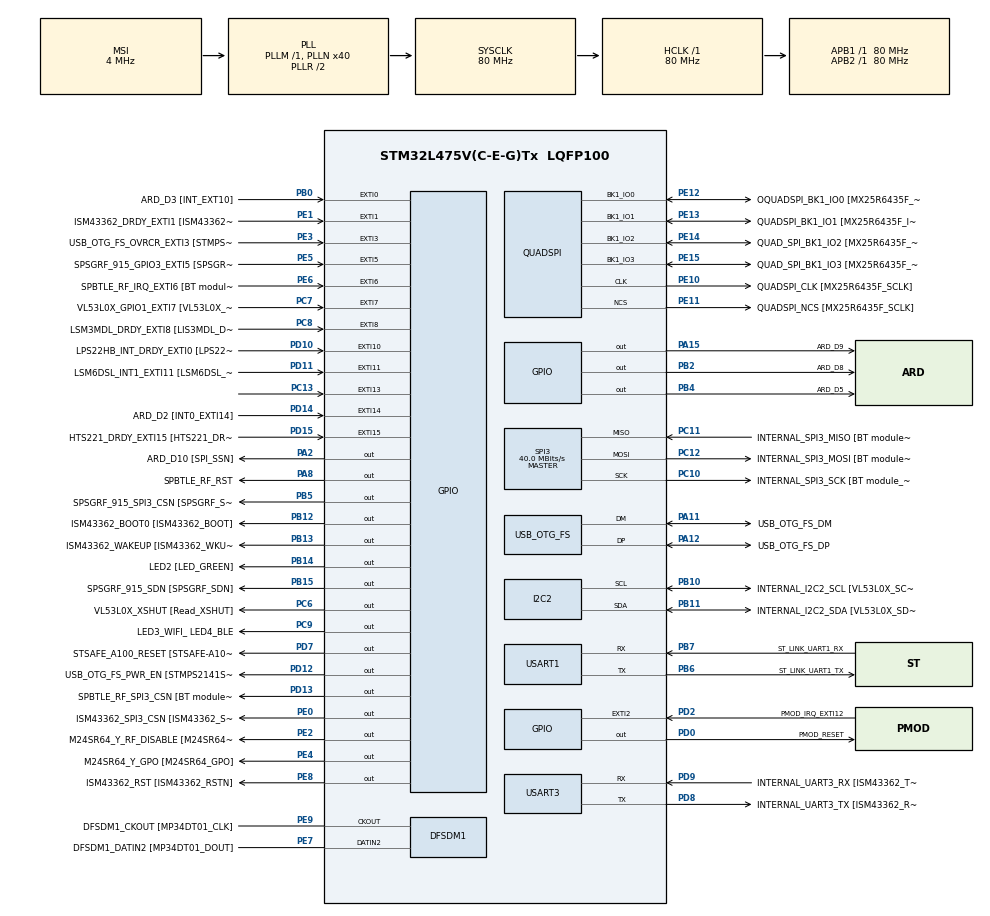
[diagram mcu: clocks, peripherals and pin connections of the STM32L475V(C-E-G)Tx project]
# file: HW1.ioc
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FREERTOS.Tasks01=defaultTask,24,128,StartDefaultTask,Default,NULL,Dynamic,NULL,NULL
I2C2.Timing=0x10D19CE4
Mcu.Family=STM32L4
Mcu.Name=STM32L475V(C-E-G)Tx
Mcu.Package=LQFP100
NVIC.EXTI15_10_IRQn=true\:5\:0\:false\:false\:true\:true\:true\:true\:true
NVIC.EXTI9_5_IRQn=true\:5\:0\:false\:false\:true\:true\:true\:true\:true
NVIC.PriorityGroup=NVIC_PRIORITYGROUP_4
NVIC.TIM1_UP_TIM16_IRQn=true\:15\:0\:false\:false\:true\:false\:false\:true\:true
NVIC.TIM2_IRQn=true\:5\:0\:false\:false\:true\:true\:true\:true\:true
NVIC.TimeBase=TIM1_UP_TIM16_IRQn
NVIC.TimeBaseIP=TIM1
PA0.GPIO_Label=ARD_D1 [UART4_TX]
PA0.Signal=UART4_TX
PA1.GPIO_Label=ARD_D0 [UART4_RX]
PA1.Signal=UART4_RX
PA10.GPIO_Label=USB_OTG_FS_ID
PA10.Signal=USB_OTG_FS_ID
PA11.GPIO_Label=USB_OTG_FS_DM
PA11.Mode=Device_Only
PA11.Signal=USB_OTG_FS_DM
PA12.GPIO_Label=USB_OTG_FS_DP
PA12.Mode=Device_Only
PA12.Signal=USB_OTG_FS_DP
PA13\ (JTMS-SWDIO).GPIO_Label=SYS_JTMS_SWDIO
PA13\ (JTMS-SWDIO).Mode=Serial_Wire
PA13\ (JTMS-SWDIO).Signal=SYS_JTMS-SWDIO
PA14\ (JTCK-SWCLK).GPIO_Label=SYS_JTCK_SWCLK
PA14\ (JTCK-SWCLK).Mode=Serial_Wire
PA14\ (JTCK-SWCLK).Signal=SYS_JTCK-SWCLK
PA15\ (JTDI).GPIO_Label=ARD_D9
PA15\ (JTDI).Signal=GPIO_Output
PA2.GPIO_Label=ARD_D10 [SPI_SSN]
PA2.Signal=GPIO_Output
PA3.GPIO_Label=ARD_D4
PA3.Signal=S_TIM2_CH4
PA4.GPIO_Label=ARD_D7
PA4.Signal=ADCx_IN9
PA5.GPIO_Label=ARD_D13 [SPI1_SCK]
PA5.Signal=SPI1_SCK
PA6.GPIO_Label=ARD_D12 [SPI1_MISO]
PA6.Signal=SPI1_MISO
PA7.GPIO_Label=ARD_D11 [SPI1_MOSI]
PA7.Signal=SPI1_MOSI
PA8.GPIO_Label=SPBTLE_RF_RST
PA8.Signal=GPIO_Output
PA9.GPIO_Label=USB_OTG_FS_VBUS [STMPS2141STR_OUT]
PA9.Signal=USB_OTG_FS_VBUS
PB0.GPIO_Label=ARD_D3 [INT_EXT10]
PB0.Signal=GPXTI0
PB1.GPIO_Label=ARD_D6 [ADC1_IN6]
PB1.Signal=ADCx_IN16
PB10.GPIO_Label=INTERNAL_I2C2_SCL [VL53L0X_SCL]
PB10.GPIO_Pu=GPIO_PULLUP
PB10.Mode=I2C
PB10.Signal=I2C2_SCL
PB11.GPIO_Label=INTERNAL_I2C2_SDA [VL53L0X_SDA]
PB11.GPIO_Pu=GPIO_PULLUP
PB11.Mode=I2C
PB11.Signal=I2C2_SDA
PB12.GPIO_Label=ISM43362_BOOT0 [ISM43362_BOOT]
PB12.Signal=GPIO_Output
PB13.GPIO_Label=ISM43362_WAKEUP [ISM43362_WKUP]
PB13.Signal=GPIO_Output
PB14.GPIO_Label=LED2 [LED_GREEN]
PB14.Signal=GPIO_Output
PB15.GPIO_Label=SPSGRF_915_SDN [SPSGRF_SDN]
PB15.Signal=GPIO_Output
PB2.GPIO_Label=ARD_D8
PB2.Signal=GPIO_Output
PB3\ (JTDO-TRACESWO).GPIO_Label=SYS_JTD0_SWO
PB3\ (JTDO-TRACESWO).Signal=SYS_JTDO-SWO
PB4\ (NJTRST).GPIO_Label=ARD_D5
PB4\ (NJTRST).Signal=GPIO_Output
PB5.GPIO_Label=SPSGRF_915_SPI3_CSN [SPSGRF_SPI_CS]
PB5.PinState=GPIO_PIN_SET
PB5.Signal=GPIO_Output
PB6.GPIO_Label=ST_LINK_UART1_TX
PB6.Mode=Asynchronous
PB6.Signal=USART1_TX
PB7.GPIO_Label=ST_LINK_UART1_RX
PB7.Mode=Asynchronous
PB7.Signal=USART1_RX
PB8.GPIO_Label=ARD_D15 [I2C1_SCL]
PB8.Signal=I2C1_SCL
PB9.GPIO_Label=ARD_D14 [I2C1_SDA]
PB9.Signal=I2C1_SDA
PC0.GPIO_Label=ARD_A5 [ADC]
PC0.Signal=ADCx_IN1
PC1.GPIO_Label=ARD_A4 [ADC]
PC1.Signal=ADCx_IN2
PC10.GPIO_Label=INTERNAL_SPI3_SCK [BT module_SPI_SCLK] [ISM43362_SCK]
PC10.Mode=Full_Duplex_Master
PC10.Signal=SPI3_SCK
PC11.GPIO_Label=INTERNAL_SPI3_MISO [BT module_SPI_MISO] [ISM43362_MISO]
PC11.Mode=Full_Duplex_Master
PC11.Signal=SPI3_MISO
PC12.GPIO_Label=INTERNAL_SPI3_MOSI [BT module_SPI_MOSI] [ISM43362_MOSI]
PC12.Mode=Full_Duplex_Master
PC12.Signal=SPI3_MOSI
PC13.GPIO_ModeDefaultEXTI=GPIO_MODE_IT_RISING_FALLING
PC13.Signal=GPXTI13
PC14-OSC32_IN\ (PC14).Mode=LSE-External-Oscillator
PC14-OSC32_IN\ (PC14).Signal=RCC_OSC32_IN
PC15-OSC32_OUT\ (PC15).Mode=LSE-External-Oscillator
PC15-OSC32_OUT\ (PC15).Signal=RCC_OSC32_OUT
PC2.GPIO_Label=ARD_A3 [ADC]
PC2.Signal=ADCx_IN3
PC3.GPIO_Label=ARD_A2 [ADC]
PC3.Signal=ADCx_IN4
PC4.GPIO_Label=ARD_A1 [ADC]
PC4.Signal=ADCx_IN13
PC5.GPIO_Label=ARD_A0 [ADC]
PC5.Signal=ADCx_IN14
PC6.GPIO_Label=VL53L0X_XSHUT [Read_XSHUT]
PC6.Signal=GPIO_Output
PC7.GPIO_Label=VL53L0X_GPIO1_EXTI7 [VL53L0X_GPIO1]
PC7.Signal=GPXTI7
PC8.GPIO_Label=LSM3MDL_DRDY_EXTI8 [LIS3MDL_DRDY]
PC8.Signal=GPXTI8
PC9.GPIO_Label=LED3_WIFI_ LED4_BLE
PC9.Signal=GPIO_Output
PD0.GPIO_Label=PMOD_RESET
PD0.Signal=GPIO_Output
PD1.GPIO_Label=PMOD_SPI2_SCK
PD1.Signal=SPI2_SCK
PD10.GPIO_Label=LPS22HB_INT_DRDY_EXTI0 [LPS22HB_INT_DRDY] 
PD10.Signal=GPXTI10
PD11.GPIO_Label=LSM6DSL_INT1_EXTI11 [LSM6DSL_INT1]
PD11.Signal=GPXTI11
PD12.GPIO_Label=USB_OTG_FS_PWR_EN [STMPS2141STR_EN]
PD12.Signal=GPIO_Output
PD13.GPIO_Label=SPBTLE_RF_SPI3_CSN [BT module_SPI_CS]
PD13.PinState=GPIO_PIN_SET
PD13.Signal=GPIO_Output
PD14.GPIO_Label=ARD_D2 [INT0_EXTI14]
PD14.Signal=GPXTI14
PD15.GPIO_Label=HTS221_DRDY_EXTI15 [HTS221_DRDY]
PD15.Signal=GPXTI15
PD2.GPIO_Label=PMOD_IRQ_EXTI12
PD2.Signal=GPXTI2
PD3.GPIO_Label=PMOD_UART2_CTS
PD3.Signal=USART2_CTS
PD4.GPIO_Label=PMOD_UART2_RTS
PD4.Signal=USART2_RTS
PD5.GPIO_Label=PMOD_UART2_TX
PD5.Signal=USART2_TX
PD6.GPIO_Label=PMOD_UART2_RX
PD6.Signal=USART2_RX
PD7.GPIO_Label=STSAFE_A100_RESET [STSAFE-A100_RESET]
PD7.Signal=GPIO_Output
PD8.GPIO_Label=INTERNAL_UART3_TX [ISM43362_RX]
PD8.Mode=Asynchronous
PD8.Signal=USART3_TX
PD9.GPIO_Label=INTERNAL_UART3_RX [ISM43362_TX]
PD9.Mode=Asynchronous
PD9.Signal=USART3_RX
PE0.GPIO_Label=ISM43362_SPI3_CSN [ISM43362_SSN]
PE0.PinState=GPIO_PIN_SET
PE0.Signal=GPIO_Output
PE1.GPIO_Label=ISM43362_DRDY_EXTI1 [ISM43362_DATARDY]
PE1.Signal=GPXTI1
PE10.GPIO_Label=QUADSPI_CLK [MX25R6435F_SCLK]
PE10.Mode=Single Bank
PE10.Signal=QUADSPI_CLK
PE11.GPIO_Label=QUADSPI_NCS [MX25R6435F_SCLK]
PE11.Mode=Single Bank
PE11.Signal=QUADSPI_NCS
PE12.GPIO_Label=OQUADSPI_BK1_IO0 [MX25R6435F_IO0]
PE12.Mode=Single Bank
PE12.Signal=QUADSPI_BK1_IO0
PE13.GPIO_Label=QUADSPI_BK1_IO1 [MX25R6435F_IO1]
PE13.Mode=Single Bank
PE13.Signal=QUADSPI_BK1_IO1
PE14.GPIO_Label=QUAD_SPI_BK1_IO2 [MX25R6435F_IO2]
PE14.Mode=Single Bank
PE14.Signal=QUADSPI_BK1_IO2
PE15.GPIO_Label=QUAD_SPI_BK1_IO3 [MX25R6435F_IO3]
PE15.Mode=Single Bank
PE15.Signal=QUADSPI_BK1_IO3
PE2.GPIO_Label=M24SR64_Y_RF_DISABLE [M24SR64_RFDIS]
PE2.Signal=GPIO_Output
PE3.GPIO_Label=USB_OTG_FS_OVRCR_EXTI3 [STMPS2141STR_FAULT]
PE3.Signal=GPXTI3
PE4.GPIO_Label=M24SR64_Y_GPO [M24SR64_GPO]
PE4.Signal=GPIO_Output
PE5.GPIO_Label=SPSGRF_915_GPIO3_EXTI5 [SPSGRF_GPIO_3]
PE5.Signal=GPXTI5
PE6.GPIO_Label=SPBTLE_RF_IRQ_EXTI6 [BT module_SPI_IRQ]
PE6.Signal=GPXTI6
PE7.GPIO_Label=DFSDM1_DATIN2 [MP34DT01_DOUT]
PE7.Signal=S_DATAIN2DFSDM1
PE8.GPIO_Label=ISM43362_RST [ISM43362_RSTN]
PE8.Signal=GPIO_Output
PE9.GPIO_Label=DFSDM1_CKOUT [MP34DT01_CLK]
PE9.Signal=S_CKOUTDFSDM1
ProjectManager.HeapSize=0x200
ProjectManager.StackSize=0x400
ProjectManager.TargetToolchain=CMake
QUADSPI.ClockPrescaler=2
QUADSPI.FifoThreshold=4
QUADSPI.FlashSize=23
QUADSPI.SampleShifting=QSPI_SAMPLE_SHIFTING_HALFCYCLE
RCC.ADCFreq_Value=48000000
RCC.AHBFreq_Value=80000000
RCC.APB1Freq_Value=80000000
RCC.APB1TimFreq_Value=80000000
RCC.APB2Freq_Value=80000000
RCC.APB2TimFreq_Value=80000000
RCC.CortexFreq_Value=80000000
RCC.HCLKFreq_Value=80000000
RCC.HSE_VALUE=8000000
RCC.HSI_VALUE=16000000
RCC.MSI_VALUE=4000000
RCC.PLLN=40
RCC.PLLSAI1N=24
RCC.SYSCLKFreq_VALUE=80000000
RCC.SYSCLKSource=RCC_SYSCLKSOURCE_PLLCLK
RCC.USBFreq_Value=48000000
RCC.VCOOutputFreq_Value=160000000
SH.ADCx_IN1.0=ADC1_IN1
SH.ADCx_IN13.0=ADC1_IN13
SH.ADCx_IN14.0=ADC1_IN14
SH.ADCx_IN16.0=ADC1_IN16
SH.ADCx_IN2.0=ADC1_IN2
SH.ADCx_IN3.0=ADC1_IN3
SH.ADCx_IN4.0=ADC1_IN4
SH.ADCx_IN9.0=ADC1_IN9
SH.S_CKOUTDFSDM1.0=DFSDM1_CKOUT,CKOUT
SH.S_CKOUTDFSDM1.1=DFSDM1_CKOUT,PDM_SPI_Input_from_ch12_and_Internal_Clock
SH.S_DATAIN2DFSDM1.0=DFSDM1_DATIN2,PDM_SPI_Input_from_ch12_and_Internal_Clock
SH.S_TIM2_CH4.0=TIM2_CH4
SPI3.CalculateBaudRate=40.0 MBits/s
SPI3.Direction=SPI_DIRECTION_2LINES
SPI3.Mode=SPI_MODE_MASTER
SPI3.VirtualType=VM_MASTER
TIM2.Period=99999
TIM2.Prescaler=7999
USART1.VirtualMode-Asynchronous=VM_ASYNC
USART3.VirtualMode-Asynchronous=VM_ASYNC
USB_OTG_FS.VirtualMode=Device_Only
VP_FREERTOS_VS_CMSIS_V2.Mode=CMSIS_V2
VP_SYS_VS_tim1.Mode=TIM1
VP_TIM2_VS_ClockSourceINT.Mode=Internal
board=B-L475E-IOT01A2

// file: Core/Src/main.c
/* USER CODE BEGIN Header */
/**
  ******************************************************************************
  * @file           : main.c
  * @brief          : Main program body
  ******************************************************************************
  * @attention
  *
  * Copyright (c) 2026 STMicroelectronics.
  * All rights reserved.
  *
  * This software is licensed under terms that can be found in the LICENSE file
  * in the root directory of this software component.
  * If no LICENSE file comes with this software, it is provided AS-IS.
  *
  ******************************************************************************
  */
/* USER CODE END Header */
#include "main.h"
#include "cmsis_os.h"

/* USER CODE BEGIN Includes */
#include "FreeRTOS.h"
#include "task.h"
#include "semphr.h"
/* USER CODE END Includes */

DFSDM_Channel_HandleTypeDef hdfsdm1_channel1;

I2C_HandleTypeDef hi2c2;

QSPI_HandleTypeDef hqspi;

SPI_HandleTypeDef hspi3;

TIM_HandleTypeDef htim2;

UART_HandleTypeDef huart1;
UART_HandleTypeDef huart3;

PCD_HandleTypeDef hpcd_USB_OTG_FS;

/* Definitions for defaultTask */
osThreadId_t defaultTaskHandle;
const osThreadAttr_t defaultTask_attributes = {
  .name = "defaultTask",
  .stack_size = 128 * 4,
  .priority = (osPriority_t) osPriorityNormal,
};
/* USER CODE BEGIN PV */
TaskHandle_t Task1Handle;
TaskHandle_t Task2Handle;

SemaphoreHandle_t xSem_Button;
SemaphoreHandle_t xSem_Timer;
SemaphoreHandle_t xMutex_LED2;

typedef enum {
  BUTTON_SHORT_PRESS = 0,
  BUTTON_LONG_PRESS
} ButtonEvent_t;

QueueHandle_t xButtonEventQueue;

static uint32_t button_press_time_tick = 0;
/* USER CODE END PV */

void SystemClock_Config(void);
static void MX_GPIO_Init(void);
static void MX_DFSDM1_Init(void);
static void MX_I2C2_Init(void);
static void MX_QUADSPI_Init(void);
static void MX_SPI3_Init(void);
static void MX_USART1_UART_Init(void);
static void MX_USART3_UART_Init(void);
static void MX_USB_OTG_FS_PCD_Init(void);
static void MX_TIM2_Init(void);
void StartDefaultTask(void *argument);

/* USER CODE BEGIN PFP */
void Task1(void *argument);
void Task2(void *argument);
/* USER CODE END PFP */

int main(void)
{

  /* MCU Configuration--------------------------------------------------------*/

  /* Reset of all peripherals, Initializes the Flash interface and the Systick. */
  HAL_Init();

  /* Configure the system clock */
  SystemClock_Config();

  /* Initialize all configured peripherals */
  MX_GPIO_Init();
  MX_DFSDM1_Init();
  MX_I2C2_Init();
  MX_QUADSPI_Init();
  MX_SPI3_Init();
  MX_USART1_UART_Init();
  MX_USART3_UART_Init();
  MX_USB_OTG_FS_PCD_Init();
  MX_TIM2_Init();
  /* USER CODE BEGIN 2 */
  xSem_Button = xSemaphoreCreateBinary();
  xSem_Timer = xSemaphoreCreateBinary();
  xMutex_LED2 = xSemaphoreCreateMutex();

  xTaskCreate(Task1, "Task1", 128, NULL, 2, &Task1Handle);
  xTaskCreate(Task2, "Task2", 128, NULL, 2, &Task2Handle);

  HAL_TIM_Base_Start_IT(&htim2);

  xButtonEventQueue = xQueueCreate(5, sizeof(ButtonEvent_t));
  /* USER CODE END 2 */

  /* Init scheduler */
  osKernelInitialize();

  /* Create the thread(s) */
  /* creation of defaultTask */
  defaultTaskHandle = osThreadNew(StartDefaultTask, NULL, &defaultTask_attributes);

  /* Start scheduler */
  osKernelStart();

  /* We should never get here as control is now taken by the scheduler */

  /* Infinite loop */
  while (1)
  {

  }
}

void SystemClock_Config(void)
{
  RCC_OscInitTypeDef RCC_OscInitStruct = {0};
  RCC_ClkInitTypeDef RCC_ClkInitStruct = {0};

  /** Configure the main internal regulator output voltage
  */
  if (HAL_PWREx_ControlVoltageScaling(PWR_REGULATOR_VOLTAGE_SCALE1) != HAL_OK)
  {
    Error_Handler();
  }

  /** Configure LSE Drive Capability
  */
  HAL_PWR_EnableBkUpAccess();
  __HAL_RCC_LSEDRIVE_CONFIG(RCC_LSEDRIVE_LOW);

  /** Initializes the RCC Oscillators according to the specified parameters
  * in the RCC_OscInitTypeDef structure.
  */
  RCC_OscInitStruct.OscillatorType = RCC_OSCILLATORTYPE_LSE|RCC_OSCILLATORTYPE_MSI;
  RCC_OscInitStruct.LSEState = RCC_LSE_ON;
  RCC_OscInitStruct.MSIState = RCC_MSI_ON;
  RCC_OscInitStruct.MSICalibrationValue = 0;
  RCC_OscInitStruct.MSIClockRange = RCC_MSIRANGE_6;
  RCC_OscInitStruct.PLL.PLLState = RCC_PLL_ON;
  RCC_OscInitStruct.PLL.PLLSource = RCC_PLLSOURCE_MSI;
  RCC_OscInitStruct.PLL.PLLM = 1;
  RCC_OscInitStruct.PLL.PLLN = 40;
  RCC_OscInitStruct.PLL.PLLP = RCC_PLLP_DIV7;
  RCC_OscInitStruct.PLL.PLLQ = RCC_PLLQ_DIV2;
  RCC_OscInitStruct.PLL.PLLR = RCC_PLLR_DIV2;
  if (HAL_RCC_OscConfig(&RCC_OscInitStruct) != HAL_OK)
  {
    Error_Handler();
  }

  /** Initializes the CPU, AHB and APB buses clocks
  */
  RCC_ClkInitStruct.ClockType = RCC_CLOCKTYPE_HCLK|RCC_CLOCKTYPE_SYSCLK
                              |RCC_CLOCKTYPE_PCLK1|RCC_CLOCKTYPE_PCLK2;
  RCC_ClkInitStruct.SYSCLKSource = RCC_SYSCLKSOURCE_PLLCLK;
  RCC_ClkInitStruct.AHBCLKDivider = RCC_SYSCLK_DIV1;
  RCC_ClkInitStruct.APB1CLKDivider = RCC_HCLK_DIV1;
  RCC_ClkInitStruct.APB2CLKDivider = RCC_HCLK_DIV1;

  if (HAL_RCC_ClockConfig(&RCC_ClkInitStruct, FLASH_LATENCY_4) != HAL_OK)
  {
    Error_Handler();
  }

  /** Enable MSI Auto calibration
  */
  HAL_RCCEx_EnableMSIPLLMode();
}

static void MX_DFSDM1_Init(void)
{

  hdfsdm1_channel1.Instance = DFSDM1_Channel1;
  hdfsdm1_channel1.Init.OutputClock.Activation = ENABLE;
  hdfsdm1_channel1.Init.OutputClock.Selection = DFSDM_CHANNEL_OUTPUT_CLOCK_SYSTEM;
  hdfsdm1_channel1.Init.OutputClock.Divider = 2;
  hdfsdm1_channel1.Init.Input.Multiplexer = DFSDM_CHANNEL_EXTERNAL_INPUTS;
  hdfsdm1_channel1.Init.Input.DataPacking = DFSDM_CHANNEL_STANDARD_MODE;
  hdfsdm1_channel1.Init.Input.Pins = DFSDM_CHANNEL_FOLLOWING_CHANNEL_PINS;
  hdfsdm1_channel1.Init.SerialInterface.Type = DFSDM_CHANNEL_SPI_RISING;
  hdfsdm1_channel1.Init.SerialInterface.SpiClock = DFSDM_CHANNEL_SPI_CLOCK_INTERNAL;
  hdfsdm1_channel1.Init.Awd.FilterOrder = DFSDM_CHANNEL_FASTSINC_ORDER;
  hdfsdm1_channel1.Init.Awd.Oversampling = 1;
  hdfsdm1_channel1.Init.Offset = 0;
  hdfsdm1_channel1.Init.RightBitShift = 0x00;
  if (HAL_DFSDM_ChannelInit(&hdfsdm1_channel1) != HAL_OK)
  {
    Error_Handler();
  }

}

static void MX_I2C2_Init(void)
{

  hi2c2.Instance = I2C2;
  hi2c2.Init.Timing = 0x10D19CE4;
  hi2c2.Init.OwnAddress1 = 0;
  hi2c2.Init.AddressingMode = I2C_ADDRESSINGMODE_7BIT;
  hi2c2.Init.DualAddressMode = I2C_DUALADDRESS_DISABLE;
  hi2c2.Init.OwnAddress2 = 0;
  hi2c2.Init.OwnAddress2Masks = I2C_OA2_NOMASK;
  hi2c2.Init.GeneralCallMode = I2C_GENERALCALL_DISABLE;
  hi2c2.Init.NoStretchMode = I2C_NOSTRETCH_DISABLE;
  if (HAL_I2C_Init(&hi2c2) != HAL_OK)
  {
    Error_Handler();
  }

  /** Configure Analogue filter
  */
  if (HAL_I2CEx_ConfigAnalogFilter(&hi2c2, I2C_ANALOGFILTER_ENABLE) != HAL_OK)
  {
    Error_Handler();
  }

  /** Configure Digital filter
  */
  if (HAL_I2CEx_ConfigDigitalFilter(&hi2c2, 0) != HAL_OK)
  {
    Error_Handler();
  }

}

static void MX_QUADSPI_Init(void)
{

  /* QUADSPI parameter configuration*/
  hqspi.Instance = QUADSPI;
  hqspi.Init.ClockPrescaler = 2;
  hqspi.Init.FifoThreshold = 4;
  hqspi.Init.SampleShifting = QSPI_SAMPLE_SHIFTING_HALFCYCLE;
  hqspi.Init.FlashSize = 23;
  hqspi.Init.ChipSelectHighTime = QSPI_CS_HIGH_TIME_1_CYCLE;
  hqspi.Init.ClockMode = QSPI_CLOCK_MODE_0;
  if (HAL_QSPI_Init(&hqspi) != HAL_OK)
  {
    Error_Handler();
  }

}

static void MX_SPI3_Init(void)
{

  /* SPI3 parameter configuration*/
  hspi3.Instance = SPI3;
  hspi3.Init.Mode = SPI_MODE_MASTER;
  hspi3.Init.Direction = SPI_DIRECTION_2LINES;
  hspi3.Init.DataSize = SPI_DATASIZE_4BIT;
  hspi3.Init.CLKPolarity = SPI_POLARITY_LOW;
  hspi3.Init.CLKPhase = SPI_PHASE_1EDGE;
  hspi3.Init.NSS = SPI_NSS_SOFT;
  hspi3.Init.BaudRatePrescaler = SPI_BAUDRATEPRESCALER_2;
  hspi3.Init.FirstBit = SPI_FIRSTBIT_MSB;
  hspi3.Init.TIMode = SPI_TIMODE_DISABLE;
  hspi3.Init.CRCCalculation = SPI_CRCCALCULATION_DISABLE;
  hspi3.Init.CRCPolynomial = 7;
  hspi3.Init.CRCLength = SPI_CRC_LENGTH_DATASIZE;
  hspi3.Init.NSSPMode = SPI_NSS_PULSE_ENABLE;
  if (HAL_SPI_Init(&hspi3) != HAL_OK)
  {
    Error_Handler();
  }

}

static void MX_TIM2_Init(void)
{

  TIM_ClockConfigTypeDef sClockSourceConfig = {0};
  TIM_MasterConfigTypeDef sMasterConfig = {0};

  htim2.Instance = TIM2;
  htim2.Init.Prescaler = 7999;
  htim2.Init.CounterMode = TIM_COUNTERMODE_UP;
  htim2.Init.Period = 99999;
  htim2.Init.ClockDivision = TIM_CLOCKDIVISION_DIV1;
  htim2.Init.AutoReloadPreload = TIM_AUTORELOAD_PRELOAD_DISABLE;
  if (HAL_TIM_Base_Init(&htim2) != HAL_OK)
  {
    Error_Handler();
  }
  sClockSourceConfig.ClockSource = TIM_CLOCKSOURCE_INTERNAL;
  if (HAL_TIM_ConfigClockSource(&htim2, &sClockSourceConfig) != HAL_OK)
  {
    Error_Handler();
  }
  sMasterConfig.MasterOutputTrigger = TIM_TRGO_RESET;
  sMasterConfig.MasterSlaveMode = TIM_MASTERSLAVEMODE_DISABLE;
  if (HAL_TIMEx_MasterConfigSynchronization(&htim2, &sMasterConfig) != HAL_OK)
  {
    Error_Handler();
  }

}

static void MX_USART1_UART_Init(void)
{

  huart1.Instance = USART1;
  huart1.Init.BaudRate = 115200;
  huart1.Init.WordLength = UART_WORDLENGTH_8B;
  huart1.Init.StopBits = UART_STOPBITS_1;
  huart1.Init.Parity = UART_PARITY_NONE;
  huart1.Init.Mode = UART_MODE_TX_RX;
  huart1.Init.HwFlowCtl = UART_HWCONTROL_NONE;
  huart1.Init.OverSampling = UART_OVERSAMPLING_16;
  huart1.Init.OneBitSampling = UART_ONE_BIT_SAMPLE_DISABLE;
  huart1.AdvancedInit.AdvFeatureInit = UART_ADVFEATURE_NO_INIT;
  if (HAL_UART_Init(&huart1) != HAL_OK)
  {
    Error_Handler();
  }

}

static void MX_USART3_UART_Init(void)
{

  huart3.Instance = USART3;
  huart3.Init.BaudRate = 115200;
  huart3.Init.WordLength = UART_WORDLENGTH_8B;
  huart3.Init.StopBits = UART_STOPBITS_1;
  huart3.Init.Parity = UART_PARITY_NONE;
  huart3.Init.Mode = UART_MODE_TX_RX;
  huart3.Init.HwFlowCtl = UART_HWCONTROL_NONE;
  huart3.Init.OverSampling = UART_OVERSAMPLING_16;
  huart3.Init.OneBitSampling = UART_ONE_BIT_SAMPLE_DISABLE;
  huart3.AdvancedInit.AdvFeatureInit = UART_ADVFEATURE_NO_INIT;
  if (HAL_UART_Init(&huart3) != HAL_OK)
  {
    Error_Handler();
  }

}

static void MX_USB_OTG_FS_PCD_Init(void)
{

  hpcd_USB_OTG_FS.Instance = USB_OTG_FS;
  hpcd_USB_OTG_FS.Init.dev_endpoints = 6;
  hpcd_USB_OTG_FS.Init.speed = PCD_SPEED_FULL;
  hpcd_USB_OTG_FS.Init.phy_itface = PCD_PHY_EMBEDDED;
  hpcd_USB_OTG_FS.Init.Sof_enable = DISABLE;
  hpcd_USB_OTG_FS.Init.low_power_enable = DISABLE;
  hpcd_USB_OTG_FS.Init.lpm_enable = DISABLE;
  hpcd_USB_OTG_FS.Init.battery_charging_enable = DISABLE;
  hpcd_USB_OTG_FS.Init.use_dedicated_ep1 = DISABLE;
  hpcd_USB_OTG_FS.Init.vbus_sensing_enable = DISABLE;
  if (HAL_PCD_Init(&hpcd_USB_OTG_FS) != HAL_OK)
  {
    Error_Handler();
  }

}

static void MX_GPIO_Init(void)
{
  GPIO_InitTypeDef GPIO_InitStruct = {0};

  /* GPIO Ports Clock Enable */
  __HAL_RCC_GPIOE_CLK_ENABLE();
  __HAL_RCC_GPIOC_CLK_ENABLE();
  __HAL_RCC_GPIOA_CLK_ENABLE();
  __HAL_RCC_GPIOB_CLK_ENABLE();
  __HAL_RCC_GPIOD_CLK_ENABLE();

  /*Configure GPIO pin Output Level */
  HAL_GPIO_WritePin(GPIOE, M24SR64_Y_RF_DISABLE_Pin|M24SR64_Y_GPO_Pin|ISM43362_RST_Pin, GPIO_PIN_RESET);

  /*Configure GPIO pin Output Level */
  HAL_GPIO_WritePin(GPIOA, ARD_D10_Pin|SPBTLE_RF_RST_Pin|ARD_D9_Pin, GPIO_PIN_RESET);

  /*Configure GPIO pin Output Level */
  HAL_GPIO_WritePin(GPIOB, ARD_D8_Pin|ISM43362_BOOT0_Pin|ISM43362_WAKEUP_Pin|LED2_Pin
                          |SPSGRF_915_SDN_Pin|ARD_D5_Pin, GPIO_PIN_RESET);

  /*Configure GPIO pin Output Level */
  HAL_GPIO_WritePin(GPIOD, USB_OTG_FS_PWR_EN_Pin|PMOD_RESET_Pin|STSAFE_A100_RESET_Pin, GPIO_PIN_RESET);

  /*Configure GPIO pin Output Level */
  HAL_GPIO_WritePin(SPBTLE_RF_SPI3_CSN_GPIO_Port, SPBTLE_RF_SPI3_CSN_Pin, GPIO_PIN_SET);

  /*Configure GPIO pin Output Level */
  HAL_GPIO_WritePin(GPIOC, VL53L0X_XSHUT_Pin|LED3_WIFI__LED4_BLE_Pin, GPIO_PIN_RESET);

  /*Configure GPIO pin Output Level */
  HAL_GPIO_WritePin(SPSGRF_915_SPI3_CSN_GPIO_Port, SPSGRF_915_SPI3_CSN_Pin, GPIO_PIN_SET);

  /*Configure GPIO pin Output Level */
  HAL_GPIO_WritePin(ISM43362_SPI3_CSN_GPIO_Port, ISM43362_SPI3_CSN_Pin, GPIO_PIN_SET);

  /*Configure GPIO pins : M24SR64_Y_RF_DISABLE_Pin M24SR64_Y_GPO_Pin ISM43362_RST_Pin ISM43362_SPI3_CSN_Pin */
  GPIO_InitStruct.Pin = M24SR64_Y_RF_DISABLE_Pin|M24SR64_Y_GPO_Pin|ISM43362_RST_Pin|ISM43362_SPI3_CSN_Pin;
  GPIO_InitStruct.Mode = GPIO_MODE_OUTPUT_PP;
  GPIO_InitStruct.Pull = GPIO_NOPULL;
  GPIO_InitStruct.Speed = GPIO_SPEED_FREQ_LOW;
  HAL_GPIO_Init(GPIOE, &GPIO_InitStruct);

  /*Configure GPIO pins : USB_OTG_FS_OVRCR_EXTI3_Pin SPSGRF_915_GPIO3_EXTI5_Pin SPBTLE_RF_IRQ_EXTI6_Pin ISM43362_DRDY_EXTI1_Pin */
  GPIO_InitStruct.Pin = USB_OTG_FS_OVRCR_EXTI3_Pin|SPSGRF_915_GPIO3_EXTI5_Pin|SPBTLE_RF_IRQ_EXTI6_Pin|ISM43362_DRDY_EXTI1_Pin;
  GPIO_InitStruct.Mode = GPIO_MODE_IT_RISING;
  GPIO_InitStruct.Pull = GPIO_NOPULL;
  HAL_GPIO_Init(GPIOE, &GPIO_InitStruct);

  /*Configure GPIO pin : PC13 */
  GPIO_InitStruct.Pin = GPIO_PIN_13;
  GPIO_InitStruct.Mode = GPIO_MODE_IT_RISING_FALLING;
  GPIO_InitStruct.Pull = GPIO_NOPULL;
  HAL_GPIO_Init(GPIOC, &GPIO_InitStruct);

  /*Configure GPIO pins : ARD_A5_Pin ARD_A4_Pin ARD_A3_Pin ARD_A2_Pin
                           ARD_A1_Pin ARD_A0_Pin */
  GPIO_InitStruct.Pin = ARD_A5_Pin|ARD_A4_Pin|ARD_A3_Pin|ARD_A2_Pin
                          |ARD_A1_Pin|ARD_A0_Pin;
  GPIO_InitStruct.Mode = GPIO_MODE_ANALOG_ADC_CONTROL;
  GPIO_InitStruct.Pull = GPIO_NOPULL;
  HAL_GPIO_Init(GPIOC, &GPIO_InitStruct);

  /*Configure GPIO pins : ARD_D1_Pin ARD_D0_Pin */
  GPIO_InitStruct.Pin = ARD_D1_Pin|ARD_D0_Pin;
  GPIO_InitStruct.Mode = GPIO_MODE_AF_PP;
  GPIO_InitStruct.Pull = GPIO_NOPULL;
  GPIO_InitStruct.Speed = GPIO_SPEED_FREQ_VERY_HIGH;
  GPIO_InitStruct.Alternate = GPIO_AF8_UART4;
  HAL_GPIO_Init(GPIOA, &GPIO_InitStruct);

  /*Configure GPIO pins : ARD_D10_Pin SPBTLE_RF_RST_Pin ARD_D9_Pin */
  GPIO_InitStruct.Pin = ARD_D10_Pin|SPBTLE_RF_RST_Pin|ARD_D9_Pin;
  GPIO_InitStruct.Mode = GPIO_MODE_OUTPUT_PP;
  GPIO_InitStruct.Pull = GPIO_NOPULL;
  GPIO_InitStruct.Speed = GPIO_SPEED_FREQ_LOW;
  HAL_GPIO_Init(GPIOA, &GPIO_InitStruct);

  /*Configure GPIO pin : ARD_D7_Pin */
  GPIO_InitStruct.Pin = ARD_D7_Pin;
  GPIO_InitStruct.Mode = GPIO_MODE_ANALOG_ADC_CONTROL;
  GPIO_InitStruct.Pull = GPIO_NOPULL;
  HAL_GPIO_Init(ARD_D7_GPIO_Port, &GPIO_InitStruct);

  /*Configure GPIO pins : ARD_D13_Pin ARD_D12_Pin ARD_D11_Pin */
  GPIO_InitStruct.Pin = ARD_D13_Pin|ARD_D12_Pin|ARD_D11_Pin;
  GPIO_InitStruct.Mode = GPIO_MODE_AF_PP;
  GPIO_InitStruct.Pull = GPIO_NOPULL;
  GPIO_InitStruct.Speed = GPIO_SPEED_FREQ_VERY_HIGH;
  GPIO_InitStruct.Alternate = GPIO_AF5_SPI1;
  HAL_GPIO_Init(GPIOA, &GPIO_InitStruct);

  /*Configure GPIO pin : ARD_D3_Pin */
  GPIO_InitStruct.Pin = ARD_D3_Pin;
  GPIO_InitStruct.Mode = GPIO_MODE_IT_RISING;
  GPIO_InitStruct.Pull = GPIO_NOPULL;
  HAL_GPIO_Init(ARD_D3_GPIO_Port, &GPIO_InitStruct);

  /*Configure GPIO pin : ARD_D6_Pin */
  GPIO_InitStruct.Pin = ARD_D6_Pin;
  GPIO_InitStruct.Mode = GPIO_MODE_ANALOG_ADC_CONTROL;
  GPIO_InitStruct.Pull = GPIO_NOPULL;
  HAL_GPIO_Init(ARD_D6_GPIO_Port, &GPIO_InitStruct);

  /*Configure GPIO pins : ARD_D8_Pin ISM43362_BOOT0_Pin ISM43362_WAKEUP_Pin LED2_Pin
                           SPSGRF_915_SDN_Pin ARD_D5_Pin SPSGRF_915_SPI3_CSN_Pin */
  GPIO_InitStruct.Pin = ARD_D8_Pin|ISM43362_BOOT0_Pin|ISM43362_WAKEUP_Pin|LED2_Pin
                          |SPSGRF_915_SDN_Pin|ARD_D5_Pin|SPSGRF_915_SPI3_CSN_Pin;
  GPIO_InitStruct.Mode = GPIO_MODE_OUTPUT_PP;
  GPIO_InitStruct.Pull = GPIO_NOPULL;
  GPIO_InitStruct.Speed = GPIO_SPEED_FREQ_LOW;
  HAL_GPIO_Init(GPIOB, &GPIO_InitStruct);

  /*Configure GPIO pins : LPS22HB_INT_DRDY_EXTI0_Pin LSM6DSL_INT1_EXTI11_Pin ARD_D2_Pin HTS221_DRDY_EXTI15_Pin
                           PMOD_IRQ_EXTI12_Pin */
  GPIO_InitStruct.Pin = LPS22HB_INT_DRDY_EXTI0_Pin|LSM6DSL_INT1_EXTI11_Pin|ARD_D2_Pin|HTS221_DRDY_EXTI15_Pin
                          |PMOD_IRQ_EXTI12_Pin;
  GPIO_InitStruct.Mode = GPIO_MODE_IT_RISING;
  GPIO_InitStruct.Pull = GPIO_NOPULL;
  HAL_GPIO_Init(GPIOD, &GPIO_InitStruct);

  /*Configure GPIO pins : USB_OTG_FS_PWR_EN_Pin SPBTLE_RF_SPI3_CSN_Pin PMOD_RESET_Pin STSAFE_A100_RESET_Pin */
  GPIO_InitStruct.Pin = USB_OTG_FS_PWR_EN_Pin|SPBTLE_RF_SPI3_CSN_Pin|PMOD_RESET_Pin|STSAFE_A100_RESET_Pin;
  GPIO_InitStruct.Mode = GPIO_MODE_OUTPUT_PP;
  GPIO_InitStruct.Pull = GPIO_NOPULL;
  GPIO_InitStruct.Speed = GPIO_SPEED_FREQ_LOW;
  HAL_GPIO_Init(GPIOD, &GPIO_InitStruct);

  /*Configure GPIO pins : VL53L0X_XSHUT_Pin LED3_WIFI__LED4_BLE_Pin */
  GPIO_InitStruct.Pin = VL53L0X_XSHUT_Pin|LED3_WIFI__LED4_BLE_Pin;
  GPIO_InitStruct.Mode = GPIO_MODE_OUTPUT_PP;
  GPIO_InitStruct.Pull = GPIO_NOPULL;
  GPIO_InitStruct.Speed = GPIO_SPEED_FREQ_LOW;
  HAL_GPIO_Init(GPIOC, &GPIO_InitStruct);

  /*Configure GPIO pins : VL53L0X_GPIO1_EXTI7_Pin LSM3MDL_DRDY_EXTI8_Pin */
  GPIO_InitStruct.Pin = VL53L0X_GPIO1_EXTI7_Pin|LSM3MDL_DRDY_EXTI8_Pin;
  GPIO_InitStruct.Mode = GPIO_MODE_IT_RISING;
  GPIO_InitStruct.Pull = GPIO_NOPULL;
  HAL_GPIO_Init(GPIOC, &GPIO_InitStruct);

  /*Configure GPIO pin : PMOD_SPI2_SCK_Pin */
  GPIO_InitStruct.Pin = PMOD_SPI2_SCK_Pin;
  GPIO_InitStruct.Mode = GPIO_MODE_AF_PP;
  GPIO_InitStruct.Pull = GPIO_NOPULL;
  GPIO_InitStruct.Speed = GPIO_SPEED_FREQ_VERY_HIGH;
  GPIO_InitStruct.Alternate = GPIO_AF5_SPI2;
  HAL_GPIO_Init(PMOD_SPI2_SCK_GPIO_Port, &GPIO_InitStruct);

  /*Configure GPIO pins : PMOD_UART2_CTS_Pin PMOD_UART2_RTS_Pin PMOD_UART2_TX_Pin PMOD_UART2_RX_Pin */
  GPIO_InitStruct.Pin = PMOD_UART2_CTS_Pin|PMOD_UART2_RTS_Pin|PMOD_UART2_TX_Pin|PMOD_UART2_RX_Pin;
  GPIO_InitStruct.Mode = GPIO_MODE_AF_PP;
  GPIO_InitStruct.Pull = GPIO_NOPULL;
  GPIO_InitStruct.Speed = GPIO_SPEED_FREQ_VERY_HIGH;
  GPIO_InitStruct.Alternate = GPIO_AF7_USART2;
  HAL_GPIO_Init(GPIOD, &GPIO_InitStruct);

  /*Configure GPIO pins : ARD_D15_Pin ARD_D14_Pin */
  GPIO_InitStruct.Pin = ARD_D15_Pin|ARD_D14_Pin;
  GPIO_InitStruct.Mode = GPIO_MODE_AF_OD;
  GPIO_InitStruct.Pull = GPIO_NOPULL;
  GPIO_InitStruct.Speed = GPIO_SPEED_FREQ_VERY_HIGH;
  GPIO_InitStruct.Alternate = GPIO_AF4_I2C1;
  HAL_GPIO_Init(GPIOB, &GPIO_InitStruct);

  /* EXTI interrupt init*/
  HAL_NVIC_SetPriority(EXTI9_5_IRQn, 5, 0);
  HAL_NVIC_EnableIRQ(EXTI9_5_IRQn);

  HAL_NVIC_SetPriority(EXTI15_10_IRQn, 5, 0);
  HAL_NVIC_EnableIRQ(EXTI15_10_IRQn);

}

/* USER CODE BEGIN 4 */

void HAL_GPIO_EXTI_Callback(uint16_t GPIO_Pin)
{
  if (GPIO_Pin == GPIO_PIN_13) {
    // Handle the interrupt for GPIO pin 13
    BaseType_t xHigherPriorityTaskWoken = pdFALSE;

    if (HAL_GPIO_ReadPin(GPIOC, GPIO_PIN_13) == GPIO_PIN_RESET) {
      // Button pressed
      button_press_time_tick = xTaskGetTickCountFromISR();
    } else {
      // Button released
      uint32_t button_release_time_tick = xTaskGetTickCountFromISR();
      uint32_t press_duration_ticks = button_release_time_tick - button_press_time_tick;
      uint32_t press_duration_ms = press_duration_ticks * portTICK_PERIOD_MS;

      ButtonEvent_t event;
      if (press_duration_ms < 1000) {
        event = BUTTON_SHORT_PRESS;
      } else {
        event = BUTTON_LONG_PRESS;
      }

      xQueueSendFromISR(xButtonEventQueue, &event, &xHigherPriorityTaskWoken);
      portYIELD_FROM_ISR(xHigherPriorityTaskWoken);
    }
  }
}

void Task1(void *argument)
{
  ButtonEvent_t button_event;
  for(;;)
  {
    if (xQueueReceive(xButtonEventQueue, &button_event, portMAX_DELAY) == pdTRUE)
    {
      if (xSemaphoreTake(xMutex_LED2, portMAX_DELAY) == pdTRUE)
      {
        // Handle button event
        if (button_event == BUTTON_SHORT_PRESS)
        {
          // Short press: Blink LED2 at 1Hz for 5 seconds
          for (int i = 0; i < 10; i++) {
            HAL_GPIO_TogglePin(LED2_GPIO_Port, LED2_Pin);
            vTaskDelay(pdMS_TO_TICKS(500));
          }
        }
        else if (button_event == BUTTON_LONG_PRESS)
        {
          // Long press: Blink LED2 at 10Hz for 5 seconds
          for (int i = 0; i < 100; i++) {
            HAL_GPIO_TogglePin(LED2_GPIO_Port, LED2_Pin);
            vTaskDelay(pdMS_TO_TICKS(50));
          }
        }
        xSemaphoreGive(xMutex_LED2);
      }
    }
  }
}

void Task2(void *argument)
{
  for(;;)
  {
    if (xSemaphoreTake(xSem_Timer, portMAX_DELAY) == pdTRUE) {
      // Handle timer event
      if (xSemaphoreTake(xMutex_LED2, portMAX_DELAY) == pdTRUE) {
        for (int i = 0; i < 40; i++) {
          //freq = 10Hz
          HAL_GPIO_TogglePin(LED2_GPIO_Port, LED2_Pin);
          vTaskDelay(pdMS_TO_TICKS(50));
        }
      }
      xSemaphoreGive(xMutex_LED2);
    }
  }
}

/* USER CODE END 4 */

void StartDefaultTask(void *argument)
{
  for(;;)
  {
    osDelay(1);
  }
}

void HAL_TIM_PeriodElapsedCallback(TIM_HandleTypeDef *htim)
{
  if (htim->Instance == TIM1)
  {
    HAL_IncTick();
  }
  /* USER CODE BEGIN Callback 1 */
  if (htim->Instance == TIM2) {
    BaseType_t xHigherPriorityTaskWoken = pdFALSE;
    xSemaphoreGiveFromISR(xSem_Timer, &xHigherPriorityTaskWoken);
    portYIELD_FROM_ISR(xHigherPriorityTaskWoken);
  }

  /* USER CODE END Callback 1 */
}

void Error_Handler(void)
{
  __disable_irq();
  while (1)
  {
  }
}
